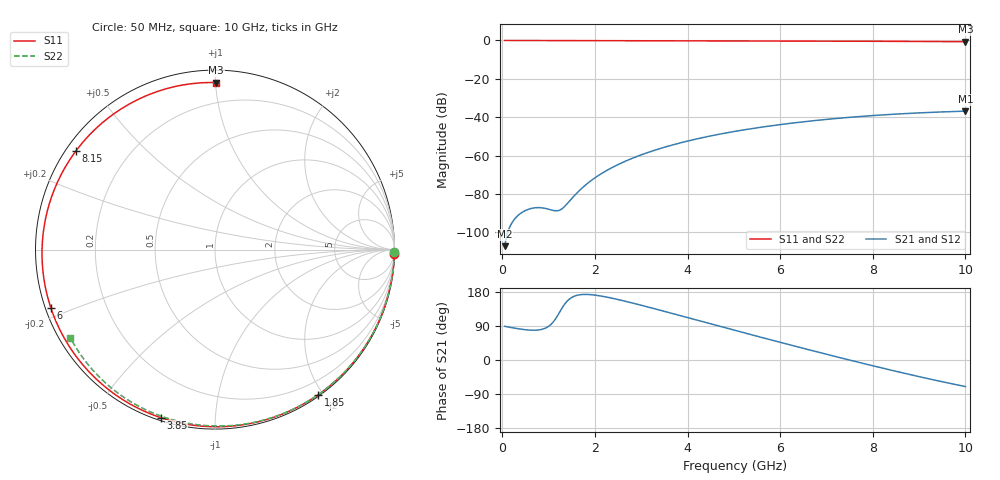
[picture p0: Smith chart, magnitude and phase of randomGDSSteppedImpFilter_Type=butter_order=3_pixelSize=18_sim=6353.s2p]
! freq	dB(S11)	phase(S11)	dB(S12)	phase(S12)
!  dB(S21)	phase(S21)	dB(S22)	phase(S22)
!S-par simulation data
#  GHz  S  DB  R 50
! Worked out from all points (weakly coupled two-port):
!   200 points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, 50 MHz to 10 GHz, reference 50 ohm
!   highest |S21| = -36.84 dB at 10 GHz (marker M1); lowest = -107.2 dB at 50 MHz (marker M2)
!   lowest |S11| = -0.6 dB at 10 GHz (marker M3), VSWR 27.85, Z = 3.61 + j50.2 ohm
!   |S11| at or under -10 dB: nowhere
!   |S22| runs from -0.5 to 0.0 dB; largest |S21 - S12| = 0
!   S11 on the Smith chart (normalised r, x): 50 MHz: 0, -75; 1.85 GHz: 0.02, -1.94; 3.85 GHz: 0.01, -0.73; 6 GHz: 0.02, -0.17; 8.15 GHz: 0.03, +0.32; 10 GHz: 0.07, +1.00
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0.05  -0.00 -1.5  -107.22 89.0  -107.22 89.0  -0.00 -0.9
0.75  -0.03 -22.6  -87.15 78.9  -87.15 78.9  -0.02 -12.9
1.55  -0.06 -46.0  -81.07 168.1  -81.07 168.1  -0.03 -26.4
1.6  -0.06 -47.5  -79.79 170.3  -79.79 170.3  -0.03 -27.2
1.75  -0.06 -51.7  -76.33 173.0  -76.33 173.0  -0.04 -29.7
1.85  -0.07 -54.6  -74.30 172.9  -74.30 172.9  -0.04 -31.4
2.15  -0.08 -63.0  -69.26 168.4  -69.26 168.4  -0.05 -36.3
2.5  -0.09 -72.6  -64.68 159.5  -64.68 159.5  -0.05 -42.0
2.9  -0.10 -83.4  -60.53 147.6  -60.53 147.6  -0.06 -48.5
3.4  -0.12 -96.5  -56.39 131.7  -56.39 131.7  -0.08 -56.4
3.85  -0.14 -108.0  -53.35 116.9  -53.35 116.9  -0.09 -63.4
4.45  -0.17 -122.9  -50.01 97.1  -50.01 97.1  -0.10 -72.5
5.05  -0.20 -137.6  -47.28 77.4  -47.28 77.4  -0.13 -81.4
6  -0.26 -160.6  -43.86 46.7  -43.86 46.7  -0.17 -95.0
6.7  -0.31 -177.7  -41.88 24.5  -41.88 24.5  -0.20 -104.7
7.45  -0.38 163.3  -40.16 1.3  -40.16 1.3  -0.25 -114.9
8.15  -0.44 144.6  -38.90 -19.7  -38.90 -19.7  -0.31 -124.2
8.35  -0.46 139.1  -38.59 -25.5  -38.59 -25.5  -0.33 -126.9
8.8  -0.51 126.3  -37.99 -38.4  -37.99 -38.4  -0.37 -132.8
9.25  -0.55 113.0  -37.49 -50.7  -37.49 -50.7  -0.42 -138.7
9.65  -0.59 100.7  -37.12 -61.3  -37.12 -61.3  -0.46 -144.0
10  -0.62 89.6  -36.84 -70.1  -36.84 -70.1  -0.50 -148.6
